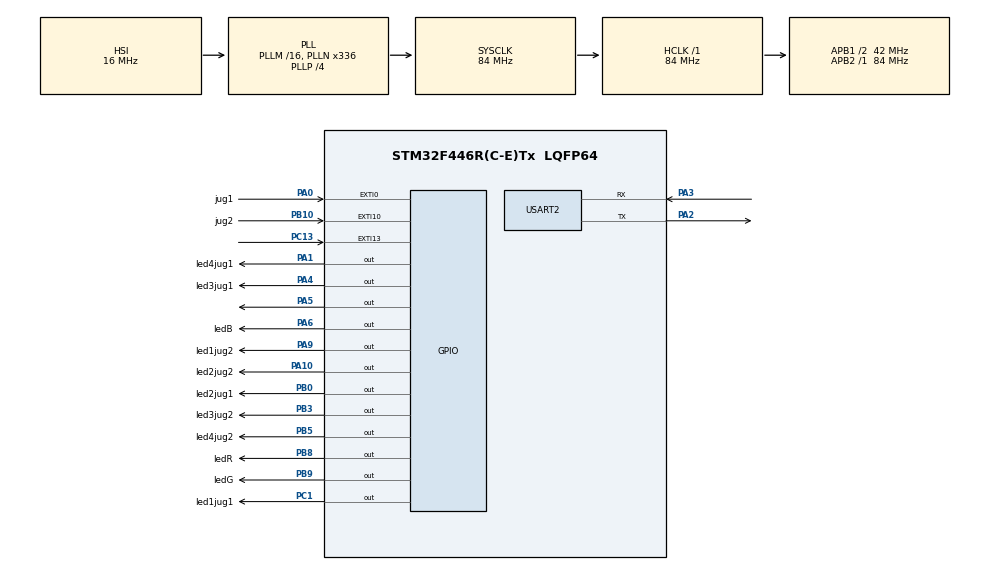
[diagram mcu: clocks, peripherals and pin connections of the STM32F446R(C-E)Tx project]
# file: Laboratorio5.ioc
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Mcu.Family=STM32F4
Mcu.Name=STM32F446R(C-E)Tx
Mcu.Package=LQFP64
NUCLEO-F446RE.BUTTON=1
NUCLEO-F446RE.LD1=true
NVIC.EXTI0_IRQn=true\:0\:0\:false\:false\:true\:true\:true\:true
NVIC.EXTI15_10_IRQn=true\:0\:0\:false\:false\:true\:false\:true\:true
NVIC.PriorityGroup=NVIC_PRIORITYGROUP_0
NVIC.USART2_IRQn=true\:0\:0\:false\:false\:true\:true\:true\:true
PA0-WKUP.GPIO_Label=jug1
PA0-WKUP.GPIO_PuPd=GPIO_PULLDOWN
PA0-WKUP.Signal=GPXTI0
PA1.GPIO_Label=led4jug1
PA1.Signal=GPIO_Output
PA10.GPIO_Label=led2jug2
PA10.Signal=GPIO_Output
PA13.GPIO_Label=TMS
PA13.Signal=SYS_JTMS-SWDIO
PA14.GPIO_Label=TCK
PA14.Signal=SYS_JTCK-SWCLK
PA2.Mode=Asynchronous
PA2.Signal=USART2_TX
PA3.Mode=Asynchronous
PA3.Signal=USART2_RX
PA4.GPIO_Label=led3jug1
PA4.Signal=GPIO_Output
PA5.Signal=GPIO_Output
PA6.GPIO_Label=ledB
PA6.Signal=GPIO_Output
PA9.GPIO_Label=led1jug2
PA9.Signal=GPIO_Output
PB0.GPIO_Label=led2jug1
PB0.Signal=GPIO_Output
PB10.GPIO_Label=jug2
PB10.GPIO_PuPd=GPIO_PULLDOWN
PB10.Signal=GPXTI10
PB3.GPIO_Label=led3jug2
PB3.Signal=GPIO_Output
PB5.GPIO_Label=led4jug2
PB5.Signal=GPIO_Output
PB8.GPIO_Label=ledR
PB8.Signal=GPIO_Output
PB9.GPIO_Label=ledG
PB9.Signal=GPIO_Output
PC1.GPIO_Label=led1jug1
PC1.Signal=GPIO_Output
PC13.Signal=GPXTI13
PC14-OSC32_IN.Signal=RCC_OSC32_IN
PC15-OSC32_OUT.Signal=RCC_OSC32_OUT
PH0-OSC_IN.Signal=RCC_OSC_IN
PH1-OSC_OUT.Signal=RCC_OSC_OUT
ProjectManager.HeapSize=0x200
ProjectManager.StackSize=0x400
ProjectManager.TargetToolchain=STM32CubeIDE
RCC.AHBFreq_Value=84000000
RCC.APB1CLKDivider=RCC_HCLK_DIV2
RCC.APB1Freq_Value=42000000
RCC.APB1TimFreq_Value=84000000
RCC.APB2Freq_Value=84000000
RCC.APB2TimFreq_Value=84000000
RCC.CortexFreq_Value=84000000
RCC.FLatency-AdvancedSettings=FLASH_LATENCY_2
RCC.HCLKFreq_Value=84000000
RCC.HSE_VALUE=8000000
RCC.HSI_VALUE=16000000
RCC.LSE_VALUE=32768
RCC.PLLN=336
RCC.PLLP=RCC_PLLP_DIV4
RCC.SYSCLKFreq_VALUE=84000000
RCC.SYSCLKSource=RCC_SYSCLKSOURCE_PLLCLK
RCC.USBFreq_Value=168000000
RCC.VCOOutputFreq_Value=336000000
USART2.VirtualMode=VM_ASYNC
VP_NUCLEO-F446RE_VS_BSP_COMMON.Mode=COMMON
board=NUCLEO-F446RE

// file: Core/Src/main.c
/* USER CODE BEGIN Header */
/**
  ******************************************************************************
  * @file           : main.c
  * @brief          : Main program body
  ******************************************************************************
  * @attention
  *
  * Copyright (c) 2026 STMicroelectronics.
  * All rights reserved.
  *
  * This software is licensed under terms that can be found in the LICENSE file
  * in the root directory of this software component.
  * If no LICENSE file comes with this software, it is provided AS-IS.
  *
  ******************************************************************************
  */
/* USER CODE END Header */
#include "main.h"

UART_HandleTypeDef huart2;

/* USER CODE BEGIN PV */

  int jugador1 = 0;
  int jugador2 = 0;
  int carrera = 0;
  int semaforo = 0;
  int inicia = 0;
  volatile uint8_t carr;

/* USER CODE END PV */

void SystemClock_Config(void);
static void MX_GPIO_Init(void);
static void MX_USART2_UART_Init(void);

/* USER CODE BEGIN 0 */

void gana1(){
	HAL_GPIO_WritePin(ledG_GPIO_Port, ledG_Pin, 0);
	HAL_GPIO_WritePin(ledR_GPIO_Port, ledR_Pin, 1);
	HAL_Delay(1000);

	HAL_GPIO_WritePin(ledG_GPIO_Port, ledG_Pin, 1);
	HAL_GPIO_WritePin(ledR_GPIO_Port, ledR_Pin, 0);
	HAL_Delay(1000);

	HAL_GPIO_WritePin(ledG_GPIO_Port, ledG_Pin, 0);
	HAL_GPIO_WritePin(ledR_GPIO_Port, ledR_Pin, 1);
	HAL_Delay(1000);

	HAL_GPIO_WritePin(ledG_GPIO_Port, ledG_Pin, 1);
	HAL_GPIO_WritePin(ledR_GPIO_Port, ledR_Pin, 0);
	HAL_Delay(1000);

	HAL_GPIO_WritePin(ledG_GPIO_Port, ledG_Pin, 0);
	HAL_GPIO_WritePin(ledR_GPIO_Port, ledR_Pin, 1);
	HAL_Delay(1000);

	HAL_GPIO_WritePin(ledG_GPIO_Port, ledG_Pin, 0);
	HAL_GPIO_WritePin(ledR_GPIO_Port, ledR_Pin, 0);
	uint8_t Test[]="Gana el 1!!!!!!!!!!! :D\r\n";
	HAL_UART_Transmit(&huart2,Test,sizeof(Test), 50);
}

void gana2(){

	HAL_GPIO_WritePin(ledG_GPIO_Port, ledG_Pin, 0);
	HAL_GPIO_WritePin(ledB_GPIO_Port, ledB_Pin, 1);
	HAL_Delay(1000);

	HAL_GPIO_WritePin(ledG_GPIO_Port, ledG_Pin, 1);
	HAL_GPIO_WritePin(ledB_GPIO_Port, ledB_Pin, 0);
	HAL_Delay(1000);

	HAL_GPIO_WritePin(ledG_GPIO_Port, ledG_Pin, 0);
	HAL_GPIO_WritePin(ledB_GPIO_Port, ledB_Pin, 1);
	HAL_Delay(1000);

	HAL_GPIO_WritePin(ledG_GPIO_Port, ledG_Pin, 1);
	HAL_GPIO_WritePin(ledB_GPIO_Port, ledB_Pin, 0);
	HAL_Delay(1000);

	HAL_GPIO_WritePin(ledG_GPIO_Port, ledG_Pin, 0);
	HAL_GPIO_WritePin(ledB_GPIO_Port, ledB_Pin, 1);
	HAL_Delay(1000);

	HAL_GPIO_WritePin(ledG_GPIO_Port, ledG_Pin, 0);
	HAL_GPIO_WritePin(ledB_GPIO_Port, ledB_Pin, 0);
	uint8_t Test[]="Gana el 2!!!!!!!!!!! :D\r\n";
	HAL_UART_Transmit(&huart2,Test,sizeof(Test),50);
}

void jagu1(){
	switch (jugador1){
	case 0:
		HAL_GPIO_WritePin(led1jug1_GPIO_Port, led1jug1_Pin, 0);
		HAL_GPIO_WritePin(led2jug1_GPIO_Port, led2jug1_Pin, 0);
		HAL_GPIO_WritePin(led3jug1_GPIO_Port, led3jug1_Pin, 0);
		HAL_GPIO_WritePin(led4jug1_GPIO_Port, led4jug1_Pin, 0);
		HAL_Delay(50);
		break;
	case 1:
		HAL_GPIO_WritePin(led1jug1_GPIO_Port, led1jug1_Pin, 1);
		HAL_GPIO_WritePin(led2jug1_GPIO_Port, led2jug1_Pin, 0);
		HAL_GPIO_WritePin(led3jug1_GPIO_Port, led3jug1_Pin, 0);
		HAL_GPIO_WritePin(led4jug1_GPIO_Port, led4jug1_Pin, 0);
		HAL_Delay(50);
		break;
	case 2:
		HAL_GPIO_WritePin(led1jug1_GPIO_Port, led1jug1_Pin, 0);
		HAL_GPIO_WritePin(led2jug1_GPIO_Port, led2jug1_Pin, 1);
		HAL_GPIO_WritePin(led3jug1_GPIO_Port, led3jug1_Pin, 0);
		HAL_GPIO_WritePin(led4jug1_GPIO_Port, led4jug1_Pin, 0);
		HAL_Delay(50);
		break;
	case 3:
		HAL_GPIO_WritePin(led1jug1_GPIO_Port, led1jug1_Pin, 0);
		HAL_GPIO_WritePin(led2jug1_GPIO_Port, led2jug1_Pin, 0);
		HAL_GPIO_WritePin(led3jug1_GPIO_Port, led3jug1_Pin, 1);
		HAL_GPIO_WritePin(led4jug1_GPIO_Port, led4jug1_Pin, 0);
		HAL_Delay(50);
		break;
	case 4:
		HAL_GPIO_WritePin(led1jug1_GPIO_Port, led1jug1_Pin, 0);
		HAL_GPIO_WritePin(led2jug1_GPIO_Port, led2jug1_Pin, 0);
		HAL_GPIO_WritePin(led3jug1_GPIO_Port, led3jug1_Pin, 0);
		HAL_GPIO_WritePin(led4jug1_GPIO_Port, led4jug1_Pin, 1);
		HAL_Delay(50);
	}

}

void jagu2(){
	switch (jugador2){
	case 0:
		HAL_GPIO_WritePin(led1jug2_GPIO_Port, led1jug2_Pin, 0);
		HAL_GPIO_WritePin(led2jug2_GPIO_Port, led2jug2_Pin, 0);
		HAL_GPIO_WritePin(led3jug2_GPIO_Port, led3jug2_Pin, 0);
		HAL_GPIO_WritePin(led4jug2_GPIO_Port, led4jug2_Pin, 0);
		HAL_Delay(50);
		break;
	case 1:
		HAL_GPIO_WritePin(led1jug2_GPIO_Port, led1jug2_Pin, 1);
		HAL_GPIO_WritePin(led2jug2_GPIO_Port, led2jug2_Pin, 0);
		HAL_GPIO_WritePin(led3jug2_GPIO_Port, led3jug2_Pin, 0);
		HAL_GPIO_WritePin(led4jug2_GPIO_Port, led4jug2_Pin, 0);
		HAL_Delay(50);
		break;
	case 2:
		HAL_GPIO_WritePin(led1jug2_GPIO_Port, led1jug2_Pin, 0);
		HAL_GPIO_WritePin(led2jug2_GPIO_Port, led2jug2_Pin, 1);
		HAL_GPIO_WritePin(led3jug2_GPIO_Port, led3jug2_Pin, 0);
		HAL_GPIO_WritePin(led4jug2_GPIO_Port, led4jug2_Pin, 0);
		HAL_Delay(50);
		break;
	case 3:
		HAL_GPIO_WritePin(led1jug2_GPIO_Port, led1jug2_Pin, 0);
		HAL_GPIO_WritePin(led2jug2_GPIO_Port, led2jug2_Pin, 0);
		HAL_GPIO_WritePin(led3jug2_GPIO_Port, led3jug2_Pin, 1);
		HAL_GPIO_WritePin(led4jug2_GPIO_Port, led4jug2_Pin, 0);
		HAL_Delay(50);
		break;
	case 4:
		HAL_GPIO_WritePin(led1jug2_GPIO_Port, led1jug2_Pin, 0);
		HAL_GPIO_WritePin(led2jug2_GPIO_Port, led2jug2_Pin, 0);
		HAL_GPIO_WritePin(led3jug2_GPIO_Port, led3jug2_Pin, 0);
		HAL_GPIO_WritePin(led4jug2_GPIO_Port, led4jug2_Pin, 1);
		HAL_Delay(50);
	}

}

/* USER CODE END 0 */

int main(void)
{

  /* MCU Configuration--------------------------------------------------------*/

  /* Reset of all peripherals, Initializes the Flash interface and the Systick. */
  HAL_Init();

  /* Configure the system clock */
  SystemClock_Config();

  /* Initialize all configured peripherals */
  MX_GPIO_Init();
  MX_USART2_UART_Init();
  /* USER CODE BEGIN 2 */
  HAL_UART_Receive_IT(&huart2, (uint8_t*)&carr, 1);

  /* USER CODE END 2 */

  /* Initialize leds */
  BSP_LED_Init(LED2);

  /* Initialize USER push-button, will be used to trigger an interrupt each time it's pressed.*/
  BSP_PB_Init(BUTTON_USER, BUTTON_MODE_EXTI);

  /* Infinite loop */
  /* USER CODE BEGIN WHILE */
  while (1)
  {
	  if (semaforo == 1){
		jugador1 = 0;
		jugador2 = 0;
		HAL_GPIO_WritePin(ledG_GPIO_Port, ledG_Pin, 0);
		HAL_GPIO_WritePin(ledR_GPIO_Port, ledR_Pin, 1);
		HAL_Delay(1000);

		HAL_GPIO_WritePin(ledG_GPIO_Port, ledG_Pin, 1);
		HAL_GPIO_WritePin(ledR_GPIO_Port, ledR_Pin, 1);
		HAL_Delay(1000);

		HAL_GPIO_WritePin(ledG_GPIO_Port, ledG_Pin, 1);
		HAL_GPIO_WritePin(ledR_GPIO_Port, ledR_Pin, 0);
		HAL_Delay(1000);

		HAL_GPIO_WritePin(ledG_GPIO_Port, ledG_Pin, 0);
		HAL_GPIO_WritePin(ledR_GPIO_Port, ledR_Pin, 0);

		semaforo = 0;
		inicia = 1;

	  }
	  if (semaforo == 0 && inicia == 1){
		  jagu1();
		  jagu2();
		  if (jugador1 ==4){
			  inicia = 0;
			  gana1();
		  }
		  if (jugador2 == 4){
			  inicia = 0;
			  gana2();
		  }
	  }

    /* USER CODE END WHILE */

  }
}

void SystemClock_Config(void)
{
  RCC_OscInitTypeDef RCC_OscInitStruct = {0};
  RCC_ClkInitTypeDef RCC_ClkInitStruct = {0};

  /** Configure the main internal regulator output voltage
  */
  __HAL_RCC_PWR_CLK_ENABLE();
  __HAL_PWR_VOLTAGESCALING_CONFIG(PWR_REGULATOR_VOLTAGE_SCALE3);

  /** Initializes the RCC Oscillators according to the specified parameters
  * in the RCC_OscInitTypeDef structure.
  */
  RCC_OscInitStruct.OscillatorType = RCC_OSCILLATORTYPE_HSI;
  RCC_OscInitStruct.HSIState = RCC_HSI_ON;
  RCC_OscInitStruct.HSICalibrationValue = RCC_HSICALIBRATION_DEFAULT;
  RCC_OscInitStruct.PLL.PLLState = RCC_PLL_ON;
  RCC_OscInitStruct.PLL.PLLSource = RCC_PLLSOURCE_HSI;
  RCC_OscInitStruct.PLL.PLLM = 16;
  RCC_OscInitStruct.PLL.PLLN = 336;
  RCC_OscInitStruct.PLL.PLLP = RCC_PLLP_DIV4;
  RCC_OscInitStruct.PLL.PLLQ = 2;
  RCC_OscInitStruct.PLL.PLLR = 2;
  if (HAL_RCC_OscConfig(&RCC_OscInitStruct) != HAL_OK)
  {
    Error_Handler();
  }

  /** Initializes the CPU, AHB and APB buses clocks
  */
  RCC_ClkInitStruct.ClockType = RCC_CLOCKTYPE_HCLK|RCC_CLOCKTYPE_SYSCLK
                              |RCC_CLOCKTYPE_PCLK1|RCC_CLOCKTYPE_PCLK2;
  RCC_ClkInitStruct.SYSCLKSource = RCC_SYSCLKSOURCE_PLLCLK;
  RCC_ClkInitStruct.AHBCLKDivider = RCC_SYSCLK_DIV1;
  RCC_ClkInitStruct.APB1CLKDivider = RCC_HCLK_DIV2;
  RCC_ClkInitStruct.APB2CLKDivider = RCC_HCLK_DIV1;

  if (HAL_RCC_ClockConfig(&RCC_ClkInitStruct, FLASH_LATENCY_2) != HAL_OK)
  {
    Error_Handler();
  }
}

static void MX_USART2_UART_Init(void)
{

  huart2.Instance = USART2;
  huart2.Init.BaudRate = 115200;
  huart2.Init.WordLength = UART_WORDLENGTH_8B;
  huart2.Init.StopBits = UART_STOPBITS_1;
  huart2.Init.Parity = UART_PARITY_NONE;
  huart2.Init.Mode = UART_MODE_TX_RX;
  huart2.Init.HwFlowCtl = UART_HWCONTROL_NONE;
  huart2.Init.OverSampling = UART_OVERSAMPLING_16;
  if (HAL_UART_Init(&huart2) != HAL_OK)
  {
    Error_Handler();
  }

}

static void MX_GPIO_Init(void)
{
  GPIO_InitTypeDef GPIO_InitStruct = {0};

  /* GPIO Ports Clock Enable */
  __HAL_RCC_GPIOC_CLK_ENABLE();
  __HAL_RCC_GPIOH_CLK_ENABLE();
  __HAL_RCC_GPIOA_CLK_ENABLE();
  __HAL_RCC_GPIOB_CLK_ENABLE();

  /*Configure GPIO pin Output Level */
  HAL_GPIO_WritePin(led1jug1_GPIO_Port, led1jug1_Pin, GPIO_PIN_RESET);

  /*Configure GPIO pin Output Level */
  HAL_GPIO_WritePin(GPIOA, led4jug1_Pin|led3jug1_Pin|ledB_Pin|led1jug2_Pin
                          |led2jug2_Pin, GPIO_PIN_RESET);

  /*Configure GPIO pin Output Level */
  HAL_GPIO_WritePin(GPIOB, led2jug1_Pin|led3jug2_Pin|led4jug2_Pin|ledR_Pin
                          |ledG_Pin, GPIO_PIN_RESET);

  /*Configure GPIO pin : led1jug1_Pin */
  GPIO_InitStruct.Pin = led1jug1_Pin;
  GPIO_InitStruct.Mode = GPIO_MODE_OUTPUT_PP;
  GPIO_InitStruct.Pull = GPIO_NOPULL;
  GPIO_InitStruct.Speed = GPIO_SPEED_FREQ_LOW;
  HAL_GPIO_Init(led1jug1_GPIO_Port, &GPIO_InitStruct);

  /*Configure GPIO pin : jug1_Pin */
  GPIO_InitStruct.Pin = jug1_Pin;
  GPIO_InitStruct.Mode = GPIO_MODE_IT_RISING;
  GPIO_InitStruct.Pull = GPIO_PULLDOWN;
  HAL_GPIO_Init(jug1_GPIO_Port, &GPIO_InitStruct);

  /*Configure GPIO pins : led4jug1_Pin led3jug1_Pin ledB_Pin led1jug2_Pin
                           led2jug2_Pin */
  GPIO_InitStruct.Pin = led4jug1_Pin|led3jug1_Pin|ledB_Pin|led1jug2_Pin
                          |led2jug2_Pin;
  GPIO_InitStruct.Mode = GPIO_MODE_OUTPUT_PP;
  GPIO_InitStruct.Pull = GPIO_NOPULL;
  GPIO_InitStruct.Speed = GPIO_SPEED_FREQ_LOW;
  HAL_GPIO_Init(GPIOA, &GPIO_InitStruct);

  /*Configure GPIO pins : led2jug1_Pin led3jug2_Pin led4jug2_Pin ledR_Pin
                           ledG_Pin */
  GPIO_InitStruct.Pin = led2jug1_Pin|led3jug2_Pin|led4jug2_Pin|ledR_Pin
                          |ledG_Pin;
  GPIO_InitStruct.Mode = GPIO_MODE_OUTPUT_PP;
  GPIO_InitStruct.Pull = GPIO_NOPULL;
  GPIO_InitStruct.Speed = GPIO_SPEED_FREQ_LOW;
  HAL_GPIO_Init(GPIOB, &GPIO_InitStruct);

  /*Configure GPIO pin : jug2_Pin */
  GPIO_InitStruct.Pin = jug2_Pin;
  GPIO_InitStruct.Mode = GPIO_MODE_IT_RISING;
  GPIO_InitStruct.Pull = GPIO_PULLDOWN;
  HAL_GPIO_Init(jug2_GPIO_Port, &GPIO_InitStruct);

  /* EXTI interrupt init*/
  HAL_NVIC_SetPriority(EXTI0_IRQn, 0, 0);
  HAL_NVIC_EnableIRQ(EXTI0_IRQn);

  HAL_NVIC_SetPriority(EXTI15_10_IRQn, 0, 0);
  HAL_NVIC_EnableIRQ(EXTI15_10_IRQn);

}

/* USER CODE BEGIN 4 */
void HAL_GPIO_EXTI_Callback(uint16_t GPIO_Pin){
	if(GPIO_Pin == jug1_Pin){
		jugador1++;
		//uint8_t Test[]="Si entre al if\r\n";
		//HAL_UART_Transmit(&huart2,Test,sizeof(Test),1000);
		if (jugador1 == 5){
			jugador1 = 4;
		}
	}

	if(GPIO_Pin == jug2_Pin){
		jugador2++;
		//uint8_t Test[]="Si entre al if\r\n";
		//HAL_UART_Transmit(&huart2,Test,sizeof(Test),1000);
		if (jugador2 == 5){
			jugador2 = 4;
		}
	}
}

void HAL_UART_RxCpltCallback(UART_HandleTypeDef *huart){
	if (huart->Instance==USART2){
		if (carr == 's'||carr == 'S'){
			semaforo = 1;

		}
	HAL_UART_Receive_IT(&huart2, (uint8_t*)&carr, 1);
	}
}

/* USER CODE END 4 */

void Error_Handler(void)
{
  __disable_irq();
  while (1)
  {
  }
}
